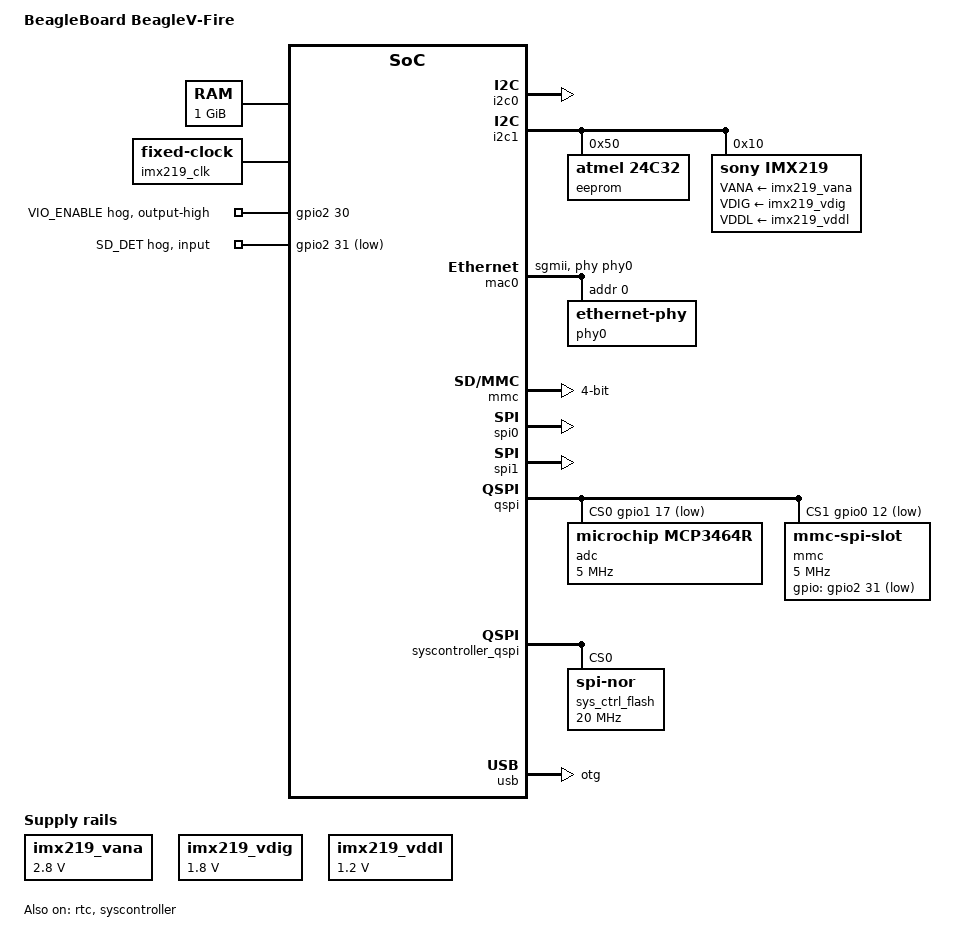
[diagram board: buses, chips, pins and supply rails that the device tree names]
// SPDX-License-Identifier: (GPL-2.0 OR MIT)
/* Copyright (c) 2020-2021 Microchip Technology Inc */

/dts-v1/;

#include <dt-bindings/gpio/gpio.h>
#include "mpfs.dtsi"
#include "mpfs-beaglev-fire-fabric.dtsi"

/* Clock frequency (in Hz) of MTIMER */
#define MTIMER_FREQ		1000000

/ {
	#address-cells = <2>;
	#size-cells = <2>;
	model = "BeagleBoard BeagleV-Fire";
	compatible = "beagle,beaglev-fire", "microchip,mpfs";

	aliases {
		serial0 = &mmuart0;
		serial1 = &mmuart1;
		serial2 = &mmuart2;
		serial3 = &mmuart3;
		serial4 = &mmuart4;
	};

	chosen {
		stdout-path = "serial0:115200n8";
	};

	cpus {
		timebase-frequency = <MTIMER_FREQ>;
	};

	ddrc_cache_lo: memory@80000000 {
		device_type = "memory";
		reg = <0x0 0x80000000 0x0 0x40000000>;
		status = "okay";
	};

	reserved-memory {
		#address-cells = <2>;
		#size-cells = <2>;
		ranges;

		hss: hss-buffer@103fc00000 {
			compatible = "shared-dma-pool";
			reg = <0x10 0x3fc00000 0x0 0x400000>;
			no-map;
		};
	};

	imx219_clk: camera-clk {
		compatible = "fixed-clock";
		#clock-cells = <0>;
		clock-frequency = <24000000>;
	};

	imx219_vana: fixedregulator-0 {
		compatible = "regulator-fixed";
		regulator-name = "imx219_vana";
		regulator-min-microvolt = <2800000>;
		regulator-max-microvolt = <2800000>;
	};

	imx219_vdig: fixedregulator-1 {
		compatible = "regulator-fixed";
		regulator-name = "imx219_vdig";
		regulator-min-microvolt = <1800000>;
		regulator-max-microvolt = <1800000>;
	};

	imx219_vddl: fixedregulator-2 {
		compatible = "regulator-fixed";
		regulator-name = "imx219_vddl";
		regulator-min-microvolt = <1200000>;
		regulator-max-microvolt = <1200000>;
	};

};

&gpio0 {
	interrupts = <13>, <14>, <15>, <16>,
		     <17>, <18>, <19>, <20>,
		     <21>, <22>, <23>, <24>,
		     <25>, <26>;
	ngpios = <14>;
	status = "okay";
};

&gpio1 {
	interrupts = <27>, <28>, <29>, <30>,
		     <31>, <32>, <33>, <34>,
		     <35>, <36>, <37>, <38>,
		     <39>, <40>, <41>, <42>,
		     <43>, <44>, <45>, <46>,
		     <47>, <48>, <49>, <50>;
	ngpios = <24>;
	status = "okay";
};

&gpio2 {
	interrupts = <53>, <53>, <53>, <53>,
		     <53>, <53>, <53>, <53>,
		     <53>, <53>, <53>, <53>,
		     <53>, <53>, <53>, <53>,
		     <53>, <53>, <53>, <53>,
		     <53>, <53>, <53>, <53>,
		     <53>, <53>, <53>, <53>,
		     <53>, <53>, <53>, <53>;
	ngpios = <32>;
	gpio-line-names = "P8_PIN3_USER_LED_0", "P8_PIN4_USER_LED_1", "P8_PIN5_USER_LED_2",
			  "P8_PIN6_USER_LED_3", "P8_PIN7_USER_LED_4", "P8_PIN8_USER_LED_5",
			  "P8_PIN9_USER_LED_6", "P8_PIN10_USER_LED_7", "P8_PIN11_USER_LED_8",
			  "P8_PIN12_USER_LED_9", "P8_PIN13_USER_LED_10", "P8_PIN14_USER_LED_11",
			  "P8_PIN15", "P8_PIN16", "P8_PIN17", "P8_PIN18", "P8_PIN19", "P8_PIN20",
			  "P8_PIN21", "P8_PIN22", "P8_PIN23", "P8_PIN24", "P8_PIN25", "P8_PIN26",
			  "P8_PIN27", "P8_PIN28", "P8_PIN29", "P8_PIN30", "M2_W_DISABLE1",
			  "M2_W_DISABLE2", "VIO_ENABLE", "SD_DET";
	status = "okay";

	vio-enable-hog {
		gpio-hog;
		gpios = <30 30>;
		output-high;
		line-name = "VIO_ENABLE";
	};

	sd-det-hog {
		gpio-hog;
		gpios = <31 31>;
		input;
		line-name = "SD_DET";
	};
};

&i2c0 {
	status = "okay";
};

&i2c1 {
	status = "okay";

	eeprom: eeprom@50 {
		compatible = "atmel,24c32";
		reg = <0x50>;
	};

	imx219: sensor@10 {
		compatible = "sony,imx219";
		reg = <0x10>;
		clocks = <&imx219_clk>;
		VANA-supply = <&imx219_vana>;   /* 2.8v */
		VDIG-supply = <&imx219_vdig>;   /* 1.8v */
		VDDL-supply = <&imx219_vddl>;   /* 1.2v */

		port {
			imx219_0: endpoint {
				data-lanes = <1 2>;
				clock-noncontinuous;
				link-frequencies = /bits/ 64 <456000000>;
			};
		};
	};
};

&irqmux {
	interrupt-map = <0 &plic 13>, <1 &plic 14>, <2 &plic 15>,
			<3 &plic 16>, <4 &plic 17>, <5 &plic 18>,
			<6 &plic 19>, <7 &plic 20>, <8 &plic 21>,
			<9 &plic 22>, <10 &plic 23>, <11 &plic 24>,
			<12 &plic 25>, <13 &plic 26>,

			<32 &plic 27>, <33 &plic 28>, <34 &plic 29>,
			<35 &plic 30>, <36 &plic 31>, <37 &plic 32>,
			<38 &plic 33>, <39 &plic 34>, <40 &plic 35>,
			<41 &plic 36>, <42 &plic 37>, <43 &plic 38>,
			<44 &plic 39>, <45 &plic 40>, <46 &plic 41>,
			<47 &plic 42>, <48 &plic 43>, <49 &plic 44>,
			<50 &plic 45>, <51 &plic 46>, <52 &plic 47>,
			<53 &plic 48>, <54 &plic 49>, <55 &plic 50>,

			<64 &plic 53>, <65 &plic 53>, <66 &plic 53>,
			<67 &plic 53>, <68 &plic 53>, <69 &plic 53>,
			<70 &plic 53>, <71 &plic 53>, <72 &plic 53>,
			<73 &plic 53>, <74 &plic 53>, <75 &plic 53>,
			<76 &plic 53>, <77 &plic 53>, <78 &plic 53>,
			<79 &plic 53>, <80 &plic 53>, <81 &plic 53>,
			<82 &plic 53>, <83 &plic 53>, <84 &plic 53>,
			<85 &plic 53>, <86 &plic 53>, <87 &plic 53>,
			<88 &plic 53>, <89 &plic 53>, <90 &plic 53>,
			<91 &plic 53>, <92 &plic 53>, <93 &plic 53>,
			<94 &plic 53>, <95 &plic 53>;
};

&mac0 {
	status = "okay";
	phy-mode = "sgmii";
	phy-handle = <&phy0>;
	phy0: ethernet-phy@0 {
		reg = <0>;
	};
};

&mbox {
	status = "okay";
};

&mmc {
	bus-width = <4>;
	disable-wp;
	cap-sd-highspeed;
	cap-mmc-highspeed;
	mmc-ddr-1_8v;
	mmc-hs200-1_8v;
	sd-uhs-sdr12;
	sd-uhs-sdr25;
	sd-uhs-sdr50;
	sd-uhs-sdr104;
	status = "okay";
};

&mmuart0 {
	status = "okay";
};

&mmuart1 {
	status = "okay";
};

&refclk {
	clock-frequency = <125000000>;
};

&refclk_ccc {
	clock-frequency = <50000000>;
};

&rtc {
	status = "okay";
};

&spi0 {
	status = "okay";
};

&spi1 {
	status = "okay";
};

&qspi {
	status = "okay";
	cs-gpios = <&gpio1 17 GPIO_ACTIVE_LOW>, <&gpio0 12 GPIO_ACTIVE_LOW>;
	num-cs = <2>;

	adc@0 {
		compatible = "microchip,mcp3464r";
		reg = <0>; /* CE0 */
		spi-cpol;
		spi-cpha;
		spi-max-frequency = <5000000>;
		microchip,hw-device-address = <1>;
		#address-cells = <1>;
		#size-cells = <0>;
		status = "okay";

		channel@0 {
			/* CH0 to AGND */
			reg = <0>;
			label = "CH0";
		};

		channel@1 {
			/* CH1 to AGND */
			reg = <1>;
			label = "CH1";
		};

		channel@2 {
			/* CH2 to AGND */
			reg = <2>;
			label = "CH2";
		};

		channel@3 {
			/* CH3 to AGND */
			reg = <3>;
			label = "CH3";
		};

		channel@4 {
			/* CH4 to AGND */
			reg = <4>;
			label = "CH4";
		};

		channel@5 {
			/* CH5 to AGND */
			reg = <5>;
			label = "CH5";
		};

		channel@6 {
			/* CH6 to AGND */
			reg = <6>;
			label = "CH6";
		};

		channel@7 {
			/* CH7 is connected to AGND */
			reg = <7>;
			label = "CH7";
		};
	};

	mmc@1 {
		compatible = "mmc-spi-slot";
		reg = <1>;
		gpios = <&gpio2 31 1>;
		voltage-ranges = <3300 3300>;
		spi-max-frequency = <5000000>;
		disable-wp;
	};
};


&syscontroller {
	microchip,bitstream-flash = <&sys_ctrl_flash>;
	status = "okay";
};

&syscontroller_qspi {
	status = "okay";

	sys_ctrl_flash: flash@0 { // MT25QL01GBBB8ESF-0SIT
		compatible = "jedec,spi-nor";
		#address-cells = <1>;
		#size-cells = <1>;
		spi-max-frequency = <20000000>;
		spi-rx-bus-width = <1>;
		reg = <0>;
	};
};

&usb {
	status = "okay";
	dr_mode = "otg";
};
